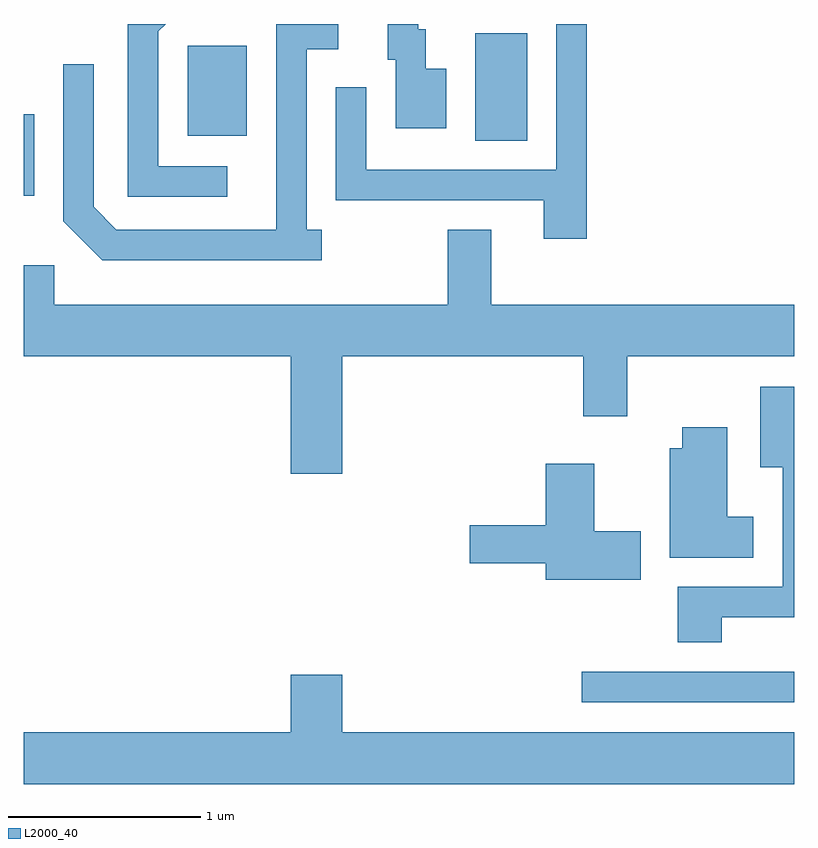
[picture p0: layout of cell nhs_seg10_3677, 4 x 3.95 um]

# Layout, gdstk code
import gdstk
lib = gdstk.Library(unit=1e-6, precision=1e-09)
def R(c, l, rs):  # rectangles x0, y0, x1, y1
    for r in rs: c.add(gdstk.rectangle(r[:2], r[2:], *l))
def P(c, l, *ps):  # polygons
    for p in ps: c.add(gdstk.Polygon(p, *l))
L2000_40 = (2000, 40)

nhs_seg10_3677 = lib.new_cell('nhs_seg10_3677')
R(nhs_seg10_3677, L2000_40, [(296.508,2121.001,297.611,2121.159), (293.611,2123.631,293.664,2124.054), (295.956,2123.916,296.224,2124.474), (294.461,2123.941,294.769,2124.409)])
P(nhs_seg10_3677, L2000_40, [(294.668,2123.784),(294.309,2123.784),(294.309,2124.484),(294.347,2124.522),(294.151,2124.522),(294.151,2123.626),(294.668,2123.626)],
  [(295.804,2124.289),(295.699,2124.289),(295.699,2124.494),(295.659,2124.494),(295.659,2124.522),(295.501,2124.522),(295.501,2124.336),(295.541,2124.336),(295.541,2123.981),(295.804,2123.981)],
  [(295.158,2123.454),(295.079,2123.454),(295.079,2124.391),(295.243,2124.391),(295.243,2124.522),(294.921,2124.522),(294.921,2123.454),(294.092,2123.454),(293.974,2123.572),(293.974,2124.313),(293.816,2124.313),(293.816,2123.499),(294.019,2123.296),(295.158,2123.296)],
  [(296.534,2124.522),(296.376,2124.522),(296.376,2123.764),(295.389,2123.764),(295.389,2124.193),(295.231,2124.193),(295.231,2123.606),(296.311,2123.606),(296.311,2123.406),(296.534,2123.406)],
  [(295.264,2122.796),(296.516,2122.796),(296.516,2122.486),(296.744,2122.486),(296.744,2122.796),(297.611,2122.796),(297.611,2123.064),(296.039,2123.064),(296.039,2123.454),(295.811,2123.454),(295.811,2123.064),(293.769,2123.064),(293.769,2123.269),(293.611,2123.269),(293.611,2122.796),(294.996,2122.796),(294.996,2122.186),(295.264,2122.186)],
  [(297.234,2121.441),(297.611,2121.441),(297.611,2122.639),(297.436,2122.639),(297.436,2122.221),(297.551,2122.221),(297.551,2121.599),(297.006,2121.599),(297.006,2121.311),(297.234,2121.311)],
  [(297.399,2121.964),(297.264,2121.964),(297.264,2122.429),(297.031,2122.429),(297.031,2122.319),(296.966,2122.319),(296.966,2121.751),(297.399,2121.751)],
  [(296.814,2121.889),(296.574,2121.889),(296.574,2122.239),(296.321,2122.239),(296.321,2121.919),(295.926,2121.919),(295.926,2121.721),(296.321,2121.721),(296.321,2121.636),(296.814,2121.636)],
  [(297.611,2120.844),(295.264,2120.844),(295.264,2121.144),(294.996,2121.144),(294.996,2120.844),(293.611,2120.844),(293.611,2120.576),(297.611,2120.576)])

lib.write_gds('nhs_seg10_3677.gds')
